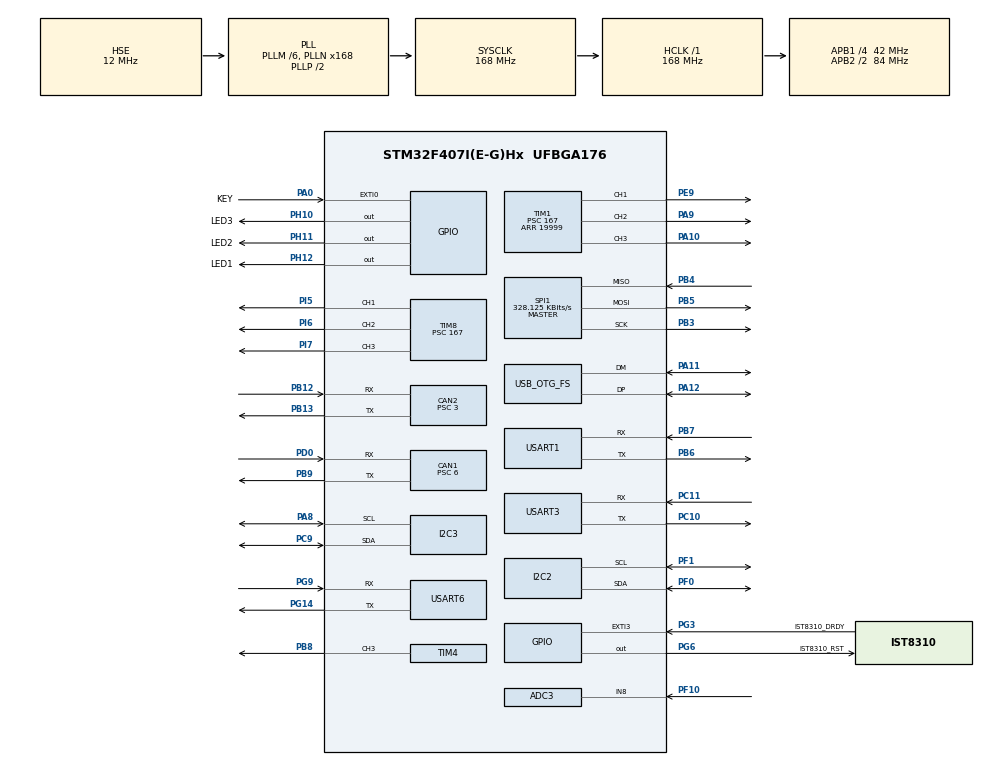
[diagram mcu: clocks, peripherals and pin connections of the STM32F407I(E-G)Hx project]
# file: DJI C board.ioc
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ADC1.Channel-0\#ChannelRegularConversion=ADC_CHANNEL_VREFINT
ADC1.NbrOfConversionFlag=1
ADC1.Rank-0\#ChannelRegularConversion=1
ADC1.SamplingTime-0\#ChannelRegularConversion=ADC_SAMPLETIME_3CYCLES
ADC1.master=1
ADC3.Channel-0\#ChannelRegularConversion=ADC_CHANNEL_8
ADC3.NbrOfConversionFlag=1
ADC3.Rank-0\#ChannelRegularConversion=1
ADC3.SamplingTime-0\#ChannelRegularConversion=ADC_SAMPLETIME_3CYCLES
CAN1.BS1=CAN_BS1_3TQ
CAN1.BS2=CAN_BS2_3TQ
CAN1.CalculateBaudRate=1000000
CAN1.CalculateTimeBit=1000
CAN1.CalculateTimeQuantum=142.85714285714286
CAN1.Prescaler=6
CAN2.BS1=CAN_BS1_10TQ
CAN2.BS2=CAN_BS2_3TQ
CAN2.CalculateBaudRate=1000000
CAN2.CalculateTimeBit=1000
CAN2.CalculateTimeQuantum=71.42857142857143
CAN2.Prescaler=3
Dma.Request0=USART1_TX
Dma.Request1=USART3_RX
Dma.USART1_TX.0.Direction=DMA_MEMORY_TO_PERIPH
Dma.USART1_TX.0.FIFOMode=DMA_FIFOMODE_DISABLE
Dma.USART1_TX.0.Instance=DMA2_Stream7
Dma.USART1_TX.0.MemDataAlignment=DMA_MDATAALIGN_BYTE
Dma.USART1_TX.0.MemInc=DMA_MINC_ENABLE
Dma.USART1_TX.0.Mode=DMA_NORMAL
Dma.USART1_TX.0.PeriphDataAlignment=DMA_PDATAALIGN_BYTE
Dma.USART1_TX.0.PeriphInc=DMA_PINC_DISABLE
Dma.USART1_TX.0.Priority=DMA_PRIORITY_VERY_HIGH
Dma.USART3_RX.1.Direction=DMA_PERIPH_TO_MEMORY
Dma.USART3_RX.1.FIFOMode=DMA_FIFOMODE_DISABLE
Dma.USART3_RX.1.Instance=DMA1_Stream1
Dma.USART3_RX.1.MemDataAlignment=DMA_MDATAALIGN_BYTE
Dma.USART3_RX.1.MemInc=DMA_MINC_ENABLE
Dma.USART3_RX.1.Mode=DMA_NORMAL
Dma.USART3_RX.1.PeriphDataAlignment=DMA_PDATAALIGN_BYTE
Dma.USART3_RX.1.PeriphInc=DMA_PINC_DISABLE
Dma.USART3_RX.1.Priority=DMA_PRIORITY_VERY_HIGH
FREERTOS.Tasks01=defaultTask,0,128,StartDefaultTask,Default,NULL,Dynamic,NULL,NULL;Chassis_Task,2,128,StartTask02,Default,NULL,Dynamic,NULL,NULL;Output_Task,-2,128,StartTask03,Default,NULL,Dynamic,NULL,NULL;UART_RX_Task,1,256,StartTask04,Default,NULL,Dynamic,NULL,NULL;MAIN_Task,-1,256,StartTask05,Default,NULL,Dynamic,NULL,NULL;TOWER_Task,0,128,StartTask06,Default,NULL,Dynamic,NULL,NULL
I2C2.I2C_Mode=I2C_Fast
I2C3.I2C_Mode=I2C_Fast
Mcu.Family=STM32F4
Mcu.Name=STM32F407I(E-G)Hx
Mcu.Package=UFBGA176
NVIC.DMA1_Stream1_IRQn=true\:5\:0\:false\:false\:true\:true\:false\:true\:true
NVIC.DMA2_Stream7_IRQn=true\:5\:0\:false\:false\:true\:true\:false\:true\:true
NVIC.EXTI0_IRQn=true\:5\:0\:false\:false\:true\:true\:true\:true\:true
NVIC.PriorityGroup=NVIC_PRIORITYGROUP_4
NVIC.TIM1_UP_TIM10_IRQn=true\:5\:0\:false\:false\:true\:true\:true\:true\:true
NVIC.TIM2_IRQn=true\:15\:0\:false\:false\:true\:false\:false\:true\:true
NVIC.TIM8_UP_TIM13_IRQn=true\:5\:0\:false\:false\:true\:true\:true\:true\:true
NVIC.TimeBase=TIM2_IRQn
NVIC.TimeBaseIP=TIM2
NVIC.USART1_IRQn=true\:5\:0\:false\:false\:true\:true\:true\:true\:true
NVIC.USART6_IRQn=true\:5\:0\:false\:false\:true\:true\:true\:true\:true
PA0-WKUP.GPIO_Label=KEY
PA0-WKUP.GPIO_PuPd=GPIO_PULLUP
PA0-WKUP.Signal=GPXTI0
PA10.Signal=S_TIM1_CH3
PA11.Mode=Device_Only
PA11.Signal=USB_OTG_FS_DM
PA12.Mode=Device_Only
PA12.Signal=USB_OTG_FS_DP
PA13.Mode=Serial_Wire
PA13.Signal=SYS_JTMS-SWDIO
PA14.Mode=Serial_Wire
PA14.Signal=SYS_JTCK-SWCLK
PA9.Signal=S_TIM1_CH2
PE9.Signal=S_TIM1_CH1
PB12.Mode=CAN_Activate
PB12.Signal=CAN2_RX
PB13.Mode=CAN_Activate
PB13.Signal=CAN2_TX
PB3.Mode=Full_Duplex_Master
PB3.Signal=SPI1_SCK
PB4.Mode=Full_Duplex_Master
PB4.Signal=SPI1_MISO
PB5.Mode=Full_Duplex_Master
PB5.Signal=SPI1_MOSI
PB6.Mode=Asynchronous
PB6.Signal=USART1_TX
PB7.Mode=Asynchronous
PB7.Signal=USART1_RX
PB8.Signal=S_TIM4_CH3
PB9.Mode=CAN_Activate
PB9.Signal=CAN1_TX
PC10.Mode=Asynchronous
PC10.Signal=USART3_TX
PC11.Mode=Asynchronous
PC11.Signal=USART3_RX
PC9.Mode=I2C
PC9.Signal=I2C3_SDA
PD0.Mode=CAN_Activate
PD0.Signal=CAN1_RX
PF0.Mode=I2C
PF0.Signal=I2C2_SDA
PF1.Mode=I2C
PF1.Signal=I2C2_SCL
PF10.Mode=IN8
PF10.Signal=ADC3_IN8
PG14.Mode=Asynchronous
PG14.Signal=USART6_TX
PG3.GPIO_Label=IST8310_DRDY
PG3.GPIO_ModeDefaultEXTI=GPIO_MODE_IT_FALLING
PG3.GPIO_PuPd=GPIO_PULLUP
PG3.Signal=GPXTI3
PG6.GPIO_Label=IST8310_RST
PG6.GPIO_PuPd=GPIO_PULLUP
PG6.GPIO_Speed=GPIO_SPEED_FREQ_MEDIUM
PG6.PinState=GPIO_PIN_SET
PG6.Signal=GPIO_Output
PG9.Mode=Asynchronous
PG9.Signal=USART6_RX
PH0-OSC_IN.Mode=HSE-External-Oscillator
PH0-OSC_IN.Signal=RCC_OSC_IN
PH1-OSC_OUT.Mode=HSE-External-Oscillator
PH1-OSC_OUT.Signal=RCC_OSC_OUT
PH10.GPIO_Label=LED3
PH10.GPIO_PuPd=GPIO_NOPULL
PH10.PinState=GPIO_PIN_SET
PH10.Signal=GPIO_Output
PH11.GPIO_Label=LED2
PH11.PinState=GPIO_PIN_SET
PH11.Signal=GPIO_Output
PH12.GPIO_Label=LED1
PH12.PinState=GPIO_PIN_SET
PH12.Signal=GPIO_Output
PA8.Mode=I2C
PA8.Signal=I2C3_SCL
PI5.Signal=S_TIM8_CH1
PI6.Signal=S_TIM8_CH2
PI7.Signal=S_TIM8_CH3
ProjectManager.HeapSize=0x200
ProjectManager.StackSize=0x400
ProjectManager.TargetToolchain=MDK-ARM V5
RCC.48MHZClocksFreq_Value=48000000
RCC.AHBFreq_Value=168000000
RCC.APB1CLKDivider=RCC_HCLK_DIV4
RCC.APB1Freq_Value=42000000
RCC.APB1TimFreq_Value=84000000
RCC.APB2CLKDivider=RCC_HCLK_DIV2
RCC.APB2Freq_Value=84000000
RCC.APB2TimFreq_Value=168000000
RCC.CortexFreq_Value=168000000
RCC.HCLKFreq_Value=168000000
RCC.HSE_VALUE=12000000
RCC.HSI_VALUE=16000000
RCC.LSE_VALUE=32768
RCC.PLLM=6
RCC.PLLN=168
RCC.PLLQ=7
RCC.PLLSourceVirtual=RCC_PLLSOURCE_HSE
RCC.SYSCLKFreq_VALUE=168000000
RCC.SYSCLKSource=RCC_SYSCLKSOURCE_PLLCLK
RCC.VCOOutputFreq_Value=336000000
SH.S_TIM1_CH1.0=TIM1_CH1,PWM Generation1 CH1
SH.S_TIM1_CH2.0=TIM1_CH2,PWM Generation2 CH2
SH.S_TIM1_CH3.0=TIM1_CH3,PWM Generation3 CH3
SH.S_TIM4_CH3.0=TIM4_CH3,PWM Generation3 CH3
SH.S_TIM8_CH1.0=TIM8_CH1,PWM Generation1 CH1
SH.S_TIM8_CH2.0=TIM8_CH2,PWM Generation2 CH2
SH.S_TIM8_CH3.0=TIM8_CH3,PWM Generation3 CH3
SPI1.BaudRatePrescaler=SPI_BAUDRATEPRESCALER_256
SPI1.CLKPhase=SPI_PHASE_2EDGE
SPI1.CLKPolarity=SPI_POLARITY_HIGH
SPI1.CalculateBaudRate=328.125 KBits/s
SPI1.Direction=SPI_DIRECTION_2LINES
SPI1.Mode=SPI_MODE_MASTER
SPI1.VirtualType=VM_MASTER
TIM1.Channel-PWM\ Generation1\ CH1=TIM_CHANNEL_1
TIM1.Channel-PWM\ Generation2\ CH2=TIM_CHANNEL_2
TIM1.Channel-PWM\ Generation3\ CH3=TIM_CHANNEL_3
TIM1.Period=19999
TIM1.Prescaler=167
TIM1.Pulse-PWM\ Generation1\ CH1=1500
TIM1.Pulse-PWM\ Generation2\ CH2=2000
TIM1.Pulse-PWM\ Generation3\ CH3=2000
TIM4.Channel-PWM\ Generation3\ CH3=TIM_CHANNEL_3
TIM4.Period=20999
TIM4.Prescaler=0
TIM8.Channel-PWM\ Generation1\ CH1=TIM_CHANNEL_1
TIM8.Channel-PWM\ Generation2\ CH2=TIM_CHANNEL_2
TIM8.Channel-PWM\ Generation3\ CH3=TIM_CHANNEL_3
TIM8.Prescaler=167
TIM8.Pulse-PWM\ Generation1\ CH1=2000
TIM8.Pulse-PWM\ Generation2\ CH2=2000
USART1.VirtualMode=VM_ASYNC
USART3.VirtualMode=VM_ASYNC
USART6.VirtualMode=VM_ASYNC
VP_ADC1_TempSens_Input.Mode=IN-TempSens
VP_ADC1_Vref_Input.Mode=IN-Vrefint
VP_FREERTOS_VS_CMSIS_V1.Mode=CMSIS_V1
VP_SYS_VS_tim2.Mode=TIM2
VP_TIM1_VS_ClockSourceINT.Mode=Internal
VP_TIM4_VS_ClockSourceINT.Mode=Internal
VP_TIM8_VS_ClockSourceINT.Mode=Internal
board=custom
USB_OTG_FS.VirtualMode=Device_Only
USB_OTG_FS.Vbus_sensing=Disable
NVIC.OTG_FS_IRQn=true\:5\:0\:false\:false\:true\:true\:false\:true\:true

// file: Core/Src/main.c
/* USER CODE BEGIN Header */
/**
  ******************************************************************************
  * @file           : main.c
  * @brief          : Main program body
  ******************************************************************************
  * @attention
  *
  * Copyright (c) 2026 STMicroelectronics.
  * All rights reserved.
  *
  * This software is licensed under terms that can be found in the LICENSE file
  * in the root directory of this software component.
  * If no LICENSE file comes with this software, it is provided AS-IS.
  *
  ******************************************************************************
  */
/* USER CODE END Header */
#include "main.h"
#include "cmsis_os.h"
#include "adc.h"
#include "can.h"
#include "dma.h"
#include "i2c.h"
#include "spi.h"
#include "tim.h"
#include "usart.h"
#include "gpio.h"

/* USER CODE BEGIN Includes */
#include "chassis_can.h"
#include "chassis.h"
#include "X_V2.h"
#include "bsp_can.h"
#include "6020_pid.h"
#include "OLED.h"
#include "bsp_adc.h"
#include "ist8310driver.h"
#include "BMI088driver.h"
#include "SG90.h"
#include "usb_cpi.h"
/* USER CODE END Includes */

/* USER CODE BEGIN PD */
#define CHASSIS_LOOP_DT_S      0.002f
#define CHASSIS_FORWARD_SPEED  0.25f
/* USER CODE END PD */

void SystemClock_Config(void);
void MX_FREERTOS_Init(void);

/* USER CODE BEGIN 0 */
fp32  ist8310_mag[3];              /* IST8310 磁力计三轴数据 (μT), DefaultTask 中更新 */
volatile uint8_t ist8310_data_ready = 0;  /* DRDY 中断标志, ISR 置位 / 任务清0 */
uint8_t ist8310_init_status;        /* ist8310_init() 返回值, 0=正常 */
uint8_t bmi088_init_status;         /* BMI088_init() 返回值, 0=正常 */

/**
  * @brief  GPIO 外部中断回调 (IST8310 DRDY / KEY)
  * @param  GPIO_Pin: 触发中断的引脚号
  * @retval 无
  */
void HAL_GPIO_EXTI_Callback(uint16_t GPIO_Pin)
{
    /* KEY 按键：无操作，按键仅在 main() 启动门控中使用 */
    if (GPIO_Pin == IST8310_DRDY_Pin)
    {
        ist8310_data_ready = 1;  /* 仅置标志，I2C 读取在任务上下文中完成 */
    }
}
/* USER CODE END 0 */

int main(void)
{

  /* MCU Configuration--------------------------------------------------------*/

  /* Reset of all peripherals, Initializes the Flash interface and the Systick. */
  HAL_Init();

  /* Configure the system clock */
  SystemClock_Config();

  /* Initialize all configured peripherals */
  MX_GPIO_Init();
  MX_DMA_Init();
  MX_ADC1_Init();
  MX_ADC3_Init();
  MX_TIM1_Init();
  MX_TIM4_Init();
  MX_TIM8_Init();
  MX_USART1_UART_Init();
  MX_USART3_UART_Init();
  MX_USART6_UART_Init();
  MX_I2C2_Init();
  MX_I2C3_Init();
  MX_SPI1_Init();
  MX_CAN1_Init();
  MX_CAN2_Init();
  /* USER CODE BEGIN 2 */
  USB_CPI_Init(); /* 先枚举，仍保留原KEY门控；未启动任务前不会执行颜色动作。 */
  /* ═══════════════════════════════════════════════════════════════════
   * 按键启动门控（对齐 6.key_exit）
   * 上电后在此等待 PA0 按下 → PB14 拉高 → 延时 300ms → 启动全部流程
   * ═══════════════════════════════════════════════════════════════════ */
  {
    GPIO_InitTypeDef key_gpio = {0};

    /* PB14 初始化为推挽输出低电平 */
    key_gpio.Pin   = GPIO_PIN_14;
    key_gpio.Mode  = GPIO_MODE_OUTPUT_PP;
    key_gpio.Pull  = GPIO_NOPULL;
    key_gpio.Speed = GPIO_SPEED_FREQ_LOW;
    HAL_GPIO_Init(GPIOB, &key_gpio);
    HAL_GPIO_WritePin(GPIOB, GPIO_PIN_14, GPIO_PIN_RESET);

    /* LED3(PH10) 闪烁表示等待按键 */
    HAL_GPIO_WritePin(LED3_GPIO_Port, LED3_Pin, GPIO_PIN_SET);

    /* 等待按键按下（PA0 上拉，按下为低电平）*/
    while (HAL_GPIO_ReadPin(KEY_GPIO_Port, KEY_Pin) != GPIO_PIN_RESET);
    HAL_Delay(20);   /* 消抖 */
    while (HAL_GPIO_ReadPin(KEY_GPIO_Port, KEY_Pin) != GPIO_PIN_RESET);

    HAL_GPIO_WritePin(LED3_GPIO_Port, LED3_Pin, GPIO_PIN_RESET);

    /* 拉高 PB14，延时 300ms 后启动全部流程 */
    HAL_GPIO_WritePin(GPIOB, GPIO_PIN_14, GPIO_PIN_SET);
    HAL_Delay(300);
  }

  /* --- CAN filters: bank 0 (GM6020) + bank 1 (chassis/lift) --- */
  can_filter_init();                                        /* GM6020 yaw motor: filter bank 0 → FIFO0 */
  chassis_can_filter_init();                                /* Chassis/lift motors: filter bank 1 → FIFO1 */
  /* CAN Start / ActivateNotification 已移至 Chassis_Task 开头（FreeRTOS 启动后执行）*/
  gimbal_PID_init();                                        /* GM6020 云台 PID 初始化 */
  SG90_Init();                                              /* SG90 夹爪舵机初始化 (TIM1_CH1, PE9, 50Hz) */
  OLED_Init();                                              /* 2.42吋 OLED 初始化 (PF1/PF0 软件 I2C) */
  init_vrefint_reciprocal();                                /* ADC 内部基准电压校准 */
  ist8310_init_status = ist8310_init();                     /* IST8310 磁力计初始化 (I2C3, DRDY PG3), 保存返回值 */
  bmi088_init_status = BMI088_init();                       /* BMI088 陀螺仪+加速度计初始化 (SPI1, CS=PA4/PB0), 保存返回值 */
  /* USER CODE END 2 */

  /* Call init function for freertos objects (in cmsis_os2.c) */
  MX_FREERTOS_Init();

  /* Start scheduler */
  osKernelStart();

  /* We should never get here as control is now taken by the scheduler */

  /* Infinite loop */
  while (1)
  {

  }
}

void SystemClock_Config(void)
{
  RCC_OscInitTypeDef RCC_OscInitStruct = {0};
  RCC_ClkInitTypeDef RCC_ClkInitStruct = {0};

  /** Configure the main internal regulator output voltage
  */
  __HAL_RCC_PWR_CLK_ENABLE();
  __HAL_PWR_VOLTAGESCALING_CONFIG(PWR_REGULATOR_VOLTAGE_SCALE1);

  /** Initializes the RCC Oscillators according to the specified parameters
  * in the RCC_OscInitTypeDef structure.
  */
  RCC_OscInitStruct.OscillatorType = RCC_OSCILLATORTYPE_HSE;
  RCC_OscInitStruct.HSEState = RCC_HSE_ON;
  RCC_OscInitStruct.PLL.PLLState = RCC_PLL_ON;
  RCC_OscInitStruct.PLL.PLLSource = RCC_PLLSOURCE_HSE;
  RCC_OscInitStruct.PLL.PLLM = 6;
  RCC_OscInitStruct.PLL.PLLN = 168;
  RCC_OscInitStruct.PLL.PLLP = RCC_PLLP_DIV2;
  RCC_OscInitStruct.PLL.PLLQ = 7; /* 336MHz/7=48MHz USB，CPU仍为168MHz。 */
  if (HAL_RCC_OscConfig(&RCC_OscInitStruct) != HAL_OK)
  {
    Error_Handler();
  }

  /** Initializes the CPU, AHB and APB buses clocks
  */
  RCC_ClkInitStruct.ClockType = RCC_CLOCKTYPE_HCLK|RCC_CLOCKTYPE_SYSCLK
                              |RCC_CLOCKTYPE_PCLK1|RCC_CLOCKTYPE_PCLK2;
  RCC_ClkInitStruct.SYSCLKSource = RCC_SYSCLKSOURCE_PLLCLK;
  RCC_ClkInitStruct.AHBCLKDivider = RCC_SYSCLK_DIV1;
  RCC_ClkInitStruct.APB1CLKDivider = RCC_HCLK_DIV4;
  RCC_ClkInitStruct.APB2CLKDivider = RCC_HCLK_DIV2;

  if (HAL_RCC_ClockConfig(&RCC_ClkInitStruct, FLASH_LATENCY_5) != HAL_OK)
  {
    Error_Handler();
  }
}

void HAL_TIM_PeriodElapsedCallback(TIM_HandleTypeDef *htim)
{
  if (htim->Instance == TIM2)
  {
    HAL_IncTick();
  }
}

void Error_Handler(void)
{
  __disable_irq();
  while (1)
  {
  }
}

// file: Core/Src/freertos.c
/* USER CODE BEGIN Header */
/**
  ******************************************************************************
  * File Name          : freertos.c
  * Description        : Code for freertos applications
  ******************************************************************************
  * @attention
  *
  * Copyright (c) 2026 STMicroelectronics.
  * All rights reserved.
  *
  * This software is licensed under terms that can be found in the LICENSE file
  * in the root directory of this software component.
  * If no LICENSE file comes with this software, it is provided AS-IS.
  *
  ******************************************************************************
  */
/* USER CODE END Header */

#include "FreeRTOS.h"
#include "task.h"
#include "main.h"
#include "cmsis_os.h"

/* USER CODE BEGIN Includes */
#include <stdio.h>
#include "chassis.h"
#include "chassis_can.h"
#include "X_V2.h"
#include "can.h"
#include "bsp_can.h"
#include "6020_pid.h"
#include "OLED.h"
#include "bsp_adc.h"
#include "ist8310driver.h"
#include "BMI088driver.h"
#include "crsf.h"
#include "SG90.h"
#include "pi_link.h"
#include "usart.h"
/* USER CODE END Includes */

/* USER CODE BEGIN PD */
#define CHASSIS_LOOP_DT_S      0.002f
#define CHASSIS_FORWARD_SPEED  0.25f

/* ── 遥控(CRSF)通道映射: 按遥控器通道顺序调整 (0 起) ──
 * 实测通道值:
 *   CH0 左右平移    居中=0992
 *   CH1 前进/后退   居中=0992
 *   CH2 油门/转速   停=0174, 满=1811 (非回中)
 *   CH3 旋转        居中=0992
 *   CH4 夹爪舵机    三段拨杆(191/997/1792)
 *   CH5 电机6       三段拨杆(191/997/1792) */
#define REMOTE_CH_STRAFE    0    /* 左右平移方向 (vy) */
#define REMOTE_CH_FORWARD   1    /* 前进/后退方向 (vx) */
#define REMOTE_CH_THROTTLE  2    /* 油门: 全局速度 174=停 1811=满速 */
#define REMOTE_CH_ROTATE    3    /* 旋转 (wz) */
#define REMOTE_CH_ARM       4    /* 通道5: 夹爪舵机三段拨杆 (原解锁开关, 已废弃) */

#define REMOTE_SIGN_VX      1.0f  /* 前进方向反了改 -1.0f */
#define REMOTE_SIGN_VY      1.0f
#define REMOTE_SIGN_WZ      -1.0f /* 自转方向: 摇杆左→车体左转(逆时针) */

#define REMOTE_MAX_VX       1.2f  /* 与底盘上限 g_max_vx 一致 */
#define REMOTE_MAX_VY       1.2f
#define REMOTE_MAX_WZ       4.0f
#define REMOTE_DEADZONE     0.05f
#define REMOTE_LINK_TIMEOUT_MS  500   /* 掉线判据 */

/* 油门(非回中)零点和量程 */
#define REMOTE_THROTTLE_MIN     174
#define REMOTE_THROTTLE_RANGE   1637   /* = CRSF_CH_MAX(1811) - 174 */
#define REMOTE_THROTTLE_DEADZONE  40   /* 油门死区: <174+40 视为完全停止(防蠕动) */

/* ── 塔吊(塔吊)遥控: CH7 开关切换模式, 油门→升降(电机#5), CH3→旋转(6020) ── */
#define REMOTE_CH_MODE        6    /* CH7 开关: 拨动后切换塔吊模式 */
#define REMOTE_MODE_THRESHOLD 1500 /* >1500 视为塔吊模式 */

#define TOWER_LIFT_MOTOR_ADDR  5U        /* 升降电机(张大头 X_V2 #5)地址 */
#define TOWER_LIFT_MAX_RPM     750.0f    /* 升降最大转速(RPM): 原 500 提高到 1.5 倍 */
#define TOWER_LIFT_ACC_RPMPS   500U      /* 升降加减速(RPM/s) */
#define TOWER_LIFT_DIR_UP      0U        /* 前进(升)方向: 0=CW, 1=CCW。方向反了把 UP/DOWN 两值互换 */
#define TOWER_LIFT_DIR_DOWN    1U        /* 后退(降)方向 */
#define TOWER_ROTATE_MAX_RPM   120.0f    /* 6020 旋转最大转速 */
#define TOWER_ROTATE_SIGN      -1.0f     /* 旋转方向反了改 +1.0f */
#define TOWER_HOLD_ANGLE_KP    0.8f      /* 锁位外环: 位置误差→转速指令 (RPM/count) */
#define TOWER_HOLD_DAMP        0.5f      /* 锁位外环速度阻尼 (转速指令 RPM / 实测 RPM) */
#define TOWER_HOLD_MAX_SPEED   150.0f    /* 锁位最大纠偏转速 (RPM) */
#define TOWER_HOLD_ERR_MAX     2048.0f   /* 锁位位置误差钳位(±90°) */

/* ── 夹爪舵机(SG90, PE9/TIM1_CH1): CH5(通道5=idx4) 三段拨杆 → 三档角度 ──
 * 实测拨杆三值: 0191 / 0997 / 1792。阈值取相邻两档中点。 */
#define TOWER_GRIP_CH_INDEX    REMOTE_CH_ARM  /* 通道5 = idx4 (复用 REMOTE_CH_ARM) */
#define TOWER_GRIP_LOW_TH      600    /* <600  判为下段 191 */
#define TOWER_GRIP_HIGH_TH     1300   /* >1300 判为上段 1792 */
#define TOWER_GRIP_ANGLE_LOW   (-80)  /* 下段 191 → 夹爪闭合(抓取) */
#define TOWER_GRIP_ANGLE_MID   (-40)  /* 中位 997 → 夹爪半开 */
#define TOWER_GRIP_ANGLE_HIGH  (0)    /* 上段 1792 → 夹爪张开 */

/* ── 电机6(张大头 X_V2 电机 #6): 通道6=idx5 三段拨杆 → 三态控制 ──
 * 遥控器把三段拨杆映射到通道6, 实测值同通道5: 0191 / 0997 / 1792。
 *   0191 → 正方向缓速;  0997 → 停止并自锁;  1792 → 反方向缓速。
 * 该通道代码里原为空闲, 与夹爪舵机(通道5)互不影响。 */
#define REMOTE_CH_MOTOR6      5U   /* 通道6 = idx5 (空闲通道) */
#define MOTOR6_ADDR           6U   /* CAN 总线电机地址 */
#define MOTOR6_SLOW_RPM       20.0f  /* 缓速转速(RPM): 啮合阻力不均匀, 已降三次(200→60→30→20),
                                          速度越低扭矩余量越大, 齿条遇紧点越不易被拖慢 */
#define MOTOR6_ACC_RPMPS      100U   /* 加减速(RPM/s): 缓加速, 起步更平稳 */
#define MOTOR6_MAX_CURRENT_MA 6000U  /* 闭环模式最大电流(mA), 与底盘四轮一致(可调) */
#define MOTOR6_DIR_FWD        0U   /* 正方向: 0=CW, 1=CCW。方向反了把 FWD/REV 两值互换 */
#define MOTOR6_DIR_REV        1U   /* 反方向 */
#define MOTOR6_SW_LOW_TH      600U  /* <600  判为下段 191 → 正方向 */
#define MOTOR6_SW_HIGH_TH     1300U /* >1300 判为上段 1792 → 反方向 */

/* 通道原始值(中位 992)归一化到 [-1,1], 带死区 */
#define REMOTE_NORM(ch, out)                                         \
    do {                                                             \
        int32_t _d = (int32_t)(ch) - CRSF_CH_CENTER;                 \
        float   _v = (float)_d / 820.0f;                             \
        if (_v >  1.0f) { _v =  1.0f; }                              \
        if (_v < -1.0f) { _v = -1.0f; }                              \
        if (_v > -REMOTE_DEADZONE && _v < REMOTE_DEADZONE) { _v = 0.0f; } \
        (out) = _v;                                                  \
    } while (0)

/* 油门(非回中)归一化: 174+死区以下→0.0, 1811→1.0 */
#define REMOTE_THROTTLE_NORM(ch, out)                                 \
    do {                                                              \
        int32_t _t = (int32_t)(ch) - REMOTE_THROTTLE_MIN - REMOTE_THROTTLE_DEADZONE; \
        float   _v = (float)_t / (float)(REMOTE_THROTTLE_RANGE - REMOTE_THROTTLE_DEADZONE); \
        if (_v < 0.0f) { _v = 0.0f; }                                 \
        if (_v > 1.0f) { _v = 1.0f; }                                 \
        (out) = _v;                                                   \
    } while (0)
/* USER CODE END PD */

/* USER CODE BEGIN Variables */
static volatile uint8_t g_chassis_ready = 0U; /* 完成原底盘初始化后才允许蓝色前进。 */
volatile control_mode_t g_control_mode = CONTROL_MODE_AUTO;
volatile uint8_t g_auto_red_grab_done = 0U;
volatile uint8_t g_tower_mode_active = 0U; /* 塔吊模式激活: 1=底盘任务停发CAN, 交 TOWER_Task 独占总线 */
extern pid_struct_t gimbal_yaw_speed_pid;  /* 6020 速度环 PID (塔吊旋转用) */
volatile int16_t g_6020_voltage_cmd = 0;   /* 最近一拍下发给 6020 的电压指令(诊断: OLED 塔吊模式第3行) */
/* USER CODE END Variables */
osThreadId defaultTaskHandle;
osThreadId Chassis_TaskHandle;
osThreadId Output_TaskHandle;
osThreadId UART_RX_TaskHandle;
osThreadId MAIN_TaskHandle;
osThreadId TOWER_TaskHandle;

/* USER CODE BEGIN FunctionPrototypes */
/* GM6020 辅助函数 — 暂时禁用，恢复 TOWER_Task 时解开 */
#if 0
static void gimbal_hold_control(uint32_t ms);
static void gimbal_wait_reached(uint32_t timeout_ms);
#endif
/* USER CODE END FunctionPrototypes */

void StartDefaultTask(void const * argument);
void StartTask02(void const * argument);
void StartTask03(void const * argument);
void StartTask04(void const * argument);
void StartTask05(void const * argument);
void StartTask06(void const * argument);

void MX_FREERTOS_Init(void); /* (MISRA C 2004 rule 8.1) */

/* GetIdleTaskMemory prototype (linked to static allocation support) */
void vApplicationGetIdleTaskMemory( StaticTask_t **ppxIdleTaskTCBBuffer, StackType_t **ppxIdleTaskStackBuffer, uint32_t *pulIdleTaskStackSize );

/* USER CODE BEGIN GET_IDLE_TASK_MEMORY */
static StaticTask_t xIdleTaskTCBBuffer;
static StackType_t xIdleStack[configMINIMAL_STACK_SIZE];

void vApplicationGetIdleTaskMemory( StaticTask_t **ppxIdleTaskTCBBuffer, StackType_t **ppxIdleTaskStackBuffer, uint32_t *pulIdleTaskStackSize )
{
  *ppxIdleTaskTCBBuffer = &xIdleTaskTCBBuffer;
  *ppxIdleTaskStackBuffer = &xIdleStack[0];
  *pulIdleTaskStackSize = configMINIMAL_STACK_SIZE;
  /* place for user code */
}
/* USER CODE END GET_IDLE_TASK_MEMORY */

void MX_FREERTOS_Init(void) {

  /* Create the thread(s) */
  /* definition and creation of defaultTask */
  osThreadDef(defaultTask, StartDefaultTask, osPriorityNormal, 0, 256);
  defaultTaskHandle = osThreadCreate(osThread(defaultTask), NULL);

  /* definition and creation of Chassis_Task */
  osThreadDef(Chassis_Task, StartTask02, osPriorityHigh, 0, 512);
  Chassis_TaskHandle = osThreadCreate(osThread(Chassis_Task), NULL);

  /* definition and creation of Output_Task */
  osThreadDef(Output_Task, StartTask03, osPriorityLow, 0, 128);
  Output_TaskHandle = osThreadCreate(osThread(Output_Task), NULL);

  /* definition and creation of UART_RX_Task */
  osThreadDef(UART_RX_Task, StartTask04, osPriorityAboveNormal, 0, 256);
  UART_RX_TaskHandle = osThreadCreate(osThread(UART_RX_Task), NULL);

  /* definition and creation of MAIN_Task */
  osThreadDef(MAIN_Task, StartTask05, osPriorityNormal, 0, 256);
  MAIN_TaskHandle = osThreadCreate(osThread(MAIN_Task), NULL);

  /* definition and creation of TOWER_Task */
  osThreadDef(TOWER_Task, StartTask06, osPriorityNormal, 0, 256);
  TOWER_TaskHandle = osThreadCreate(osThread(TOWER_Task), NULL);

}

void StartDefaultTask(void const * argument)
{
  /* USER CODE BEGIN StartDefaultTask */
  /* --- OLED 底盘轮速诊断 ---
   * Line1: RC=链路(Y/N) B=累计字节 F=有效帧
   * Line2~3: 目标轮速 T0~T3(代码期望下发的底盘坐标系转速, 带符号)
   * Line4~5: 实测轮速 M0~M3(编码器回传)
   * Line6: 轮速离散度 = max|w| - min|w| (RPM)
   * 判断: 目标≠0 而实测=0 → 电机没转(接线/使能/地址); 目标=0 → 遥控没给指令
   * Line8: CAN 接收诊断 */

  float    wrpm[4];
  float    wcmd[4];
  char     line[22];
  uint8_t  i;

  OLED_Clear();

  for(;;)
  {
    chassis_get_wheel_rpm(wrpm);
    chassis_get_wheel_cmd_rpm(wcmd);

    /* Line 1: 诊断状态 */
    snprintf(line, sizeof(line), "RC:%c B:%lu F:%lu",
             crsf_is_linked(REMOTE_LINK_TIMEOUT_MS) ? 'Y' : 'N',
             (unsigned long)crsf_byte_count(),
             (unsigned long)crsf_frame_count());
    OLED_ShowString_6x8(1, 1, line);
    for (i = 0; line[i] != '\0'; i++);
    for (; i < 21U; i++) { OLED_ShowChar_6x8(1, (uint8_t)(1U + i), ' '); }

    /* Line 2~3: 目标轮速(前左 前右 后左 后右)。
     * 塔吊模式下底盘停转, 借用这两行显示 6020 诊断:
     *   C=0x208 回包计数(为0→6020不在总线上/没供电/线松),
     *   sp=实测转速, V=本拍电压指令, d=0x1FF TX超时丢弃计数(>0→命令没发出去)。 */
    if (g_tower_mode_active)
    {
      snprintf(line, sizeof(line), "G C:%04u sp:%+4d", (unsigned)can_cnt, (int)motor_yaw_info.rotor_speed);
      OLED_ShowString_6x8(2, 1, line);
      for (i = 0; line[i] != '\0'; i++);
      for (; i < 21U; i++) { OLED_ShowChar_6x8(2, (uint8_t)(1U + i), ' '); }

      snprintf(line, sizeof(line), "G V:%+5d d:%04u", (int)g_6020_voltage_cmd, (unsigned)g_6020_tx_drop_count);
      OLED_ShowString_6x8(3, 1, line);
      for (i = 0; line[i] != '\0'; i++);
      for (; i < 21U; i++) { OLED_ShowChar_6x8(3, (uint8_t)(1U + i), ' '); }
    }
    else
    {
      snprintf(line, sizeof(line), "T0:%+4d T1:%+4d", (int)wcmd[0], (int)wcmd[1]);
      OLED_ShowString_6x8(2, 1, line);
      for (i = 0; line[i] != '\0'; i++);
      for (; i < 21U; i++) { OLED_ShowChar_6x8(2, (uint8_t)(1U + i), ' '); }

      snprintf(line, sizeof(line), "T2:%+4d T3:%+4d", (int)wcmd[2], (int)wcmd[3]);
      OLED_ShowString_6x8(3, 1, line);
      for (i = 0; line[i] != '\0'; i++);
      for (; i < 21U; i++) { OLED_ShowChar_6x8(3, (uint8_t)(1U + i), ' '); }
    }

    /* Line 4~5: 实测轮速(编码器回传) */
    snprintf(line, sizeof(line), "M0:%+4d M1:%+4d", (int)wrpm[0], (int)wrpm[1]);
    OLED_ShowString_6x8(4, 1, line);
    for (i = 0; line[i] != '\0'; i++);
    for (; i < 21U; i++) { OLED_ShowChar_6x8(4, (uint8_t)(1U + i), ' '); }

    snprintf(line, sizeof(line), "M2:%+4d M3:%+4d", (int)wrpm[2], (int)wrpm[3]);
    OLED_ShowString_6x8(5, 1, line);
    for (i = 0; line[i] != '\0'; i++);
    for (; i < 21U; i++) { OLED_ShowChar_6x8(5, (uint8_t)(1U + i), ' '); }

    /* Line 6: 轮速离散度(max|w| - min|w|), 直观衡量四轮一致性 */
    {
      float maxv = wrpm[0] < 0.0f ? -wrpm[0] : wrpm[0];
      float minv = maxv;
      for (i = 1U; i < 4U; i++)
      {
        float a = wrpm[i] < 0.0f ? -wrpm[i] : wrpm[i];
        if (a > maxv) maxv = a;
        if (a < minv) minv = a;
      }
      snprintf(line, sizeof(line), "spd:%+4d", (int)(maxv - minv));
      OLED_ShowString_6x8(6, 1, line);
      for (i = 0; line[i] != '\0'; i++);
      for (; i < 21U; i++) { OLED_ShowChar_6x8(6, (uint8_t)(1U + i), ' '); }
    }

    /* Line 7: 电机回包地址(诊断后轮)。
     * can_id=0 → 该电机从未回包(没响应/地址错/没上电);
     * can_id=3/4 且实测=0 → 电机已响应但卡死/负载太重/扭矩不够。 */
    snprintf(line, sizeof(line), "ID:%u %u %u %u",
             (unsigned)g_chassis_motors[0].can_id,
             (unsigned)g_chassis_motors[1].can_id,
             (unsigned)g_chassis_motors[2].can_id,
             (unsigned)g_chassis_motors[3].can_id);
    OLED_ShowString_6x8(7, 1, line);
    for (i = 0; line[i] != '\0'; i++);
    for (; i < 21U; i++) { OLED_ShowChar_6x8(7, (uint8_t)(1U + i), ' '); }

    /* Line 8: 电机6诊断 — 回包计数 + 实测转速(带符号, CCW=正/CW=负) + 拨杆通道值。
     * 例 "6:123 +60 m6:1792" = 地址6收到123帧回包, 实测转速+60RPM, 拨杆在上段。 */
    snprintf(line, sizeof(line), "6:%u %+d m6:%04u",
             (unsigned)g_can_rx1_ext_addr_count[6],
             (int)g_motor6_speed_rpm,
             (unsigned)crsf_get_channel(REMOTE_CH_MOTOR6));
    OLED_ShowString_6x8(8, 1, line);
    for (i = 0; line[i] != '\0'; i++);
    for (; i < 21U; i++) { OLED_ShowChar_6x8(8, (uint8_t)(1U + i), ' '); }

    osDelay(50);
  }
  /* USER CODE END StartDefaultTask */
}

void StartTask02(void const * argument)
{
  /* USER CODE BEGIN StartTask02 */
  /* --- 底盘控制任务: CAN + 陀螺仪读取 + 底盘速度环, 速度目标由遥控任务下发 --- */

  /* CAN 总线启动（在调度器上下文中执行，避免中断在 FreeRTOS 启动前触发）*/
  HAL_CAN_Start(&hcan1);
  HAL_CAN_ActivateNotification(&hcan1, CAN_IT_RX_FIFO0_MSG_PENDING);
  HAL_CAN_ActivateNotification(&hcan1, CAN_IT_RX_FIFO1_MSG_PENDING);

  uint32_t heartbeat_cnt = 0U;
  uint32_t diag_cnt = 0U;
  extern uint32_t g_chassis_can_tx_drop_count;

  /* PH10=LED3 亮一下表示 Chassis_Task 已启动 */
  HAL_GPIO_WritePin(LED3_GPIO_Port, LED3_Pin, GPIO_PIN_SET);
  osDelay(50);
  HAL_GPIO_WritePin(LED3_GPIO_Port, LED3_Pin, GPIO_PIN_RESET);

  chassis_init();

  /* 陀螺仪零偏标定(车辆静止时) + 使能陀螺仪偏航闭环 */
  chassis_gyro_calibrate();
  chassis_set_gyro_yaw_enable(true);

  /* 陀螺仪修正增益(实地可调):
   *   航向保持   —— 平移时锁定航向, 修正"左右平移走斜"；
   *   自转中心保持 —— 原地旋转时锁定空间位置, 修正"打着转飘移"。 */
  chassis_set_heading_hold_gain(3.0f);
  chassis_set_rotation_hold_gain(1.5f);

  /* PH10=LED3 再亮一下表示初始化完成 */
  HAL_GPIO_WritePin(LED3_GPIO_Port, LED3_Pin, GPIO_PIN_SET);
  osDelay(50);
  HAL_GPIO_WritePin(LED3_GPIO_Port, LED3_Pin, GPIO_PIN_RESET);

  /* 用 DWT 周期计数器实测控制周期(实际≈2.3ms, 而非假设的2ms),
     否则陀螺航向积分会系统性偏低, 航向保持/自转中心保持都会失准 */
  uint32_t last_cyc = DWT->CYCCNT;
  g_chassis_ready = 1U;

  for (;;)
  {
    uint32_t now_cyc = DWT->CYCCNT;
    float loop_dt_s = (float)(now_cyc - last_cyc) / (float)SystemCoreClock;
    last_cyc = now_cyc;
    if (loop_dt_s < 0.001f || loop_dt_s > 0.01f)
    {
      loop_dt_s = CHASSIS_LOOP_DT_S;   /* 首拍/异常时兜底, 防止 0 或超长 dt */
    }

    /* ── CAN Bus-Off 检测与恢复 ───────────────── */
    uint32_t can_esr = hcan1.Instance->ESR;
    if (can_esr & CAN_ESR_BOFF)
    {
      HAL_GPIO_WritePin(LED2_GPIO_Port, LED2_Pin, GPIO_PIN_SET);
      HAL_CAN_Stop(&hcan1);
      osDelay(10);
      __HAL_CAN_CLEAR_FLAG(&hcan1, CAN_FLAG_BOF);
      HAL_CAN_Start(&hcan1);
      HAL_CAN_ActivateNotification(&hcan1, CAN_IT_RX_FIFO0_MSG_PENDING);
      HAL_CAN_ActivateNotification(&hcan1, CAN_IT_RX_FIFO1_MSG_PENDING);
      g_chassis_can_tx_drop_count = 0U;
      HAL_GPIO_WritePin(LED2_GPIO_Port, LED2_Pin, GPIO_PIN_RESET);
      osDelay(20);
      continue;
    }
    else if (can_esr & CAN_ESR_EPVF)
    {
      static uint8_t ep_toggle = 0U;
      ep_toggle ^= 1U;
      if (ep_toggle)
        HAL_GPIO_WritePin(LED2_GPIO_Port, LED2_Pin, GPIO_PIN_SET);
      else
        HAL_GPIO_WritePin(LED2_GPIO_Port, LED2_Pin, GPIO_PIN_RESET);
    }
    else if (can_esr & CAN_ESR_EWGF)
    {
      static uint8_t ew_cnt = 0U;
      ew_cnt++;
      if (ew_cnt >= 100U) { HAL_GPIO_TogglePin(LED2_GPIO_Port, LED2_Pin); ew_cnt = 0U; }
    }
    /* ── CAN 状态检测结束 ─────────────────────── */

    /* 单读源: 每循环读陀螺仪(供偏航闭环控制用) */
    BMI088_gyro_read(g_imu_gyro);

    chassis_update(loop_dt_s);

    /* ── 诊断 LED ─────────────────────────────── */
    heartbeat_cnt++;
    if (heartbeat_cnt >= 250U)
    {
      HAL_GPIO_TogglePin(LED3_GPIO_Port, LED3_Pin);
      heartbeat_cnt = 0U;
    }

    diag_cnt++;
    if (diag_cnt >= 500U)
    {
      uint8_t fb_ok = 0U;
      for (uint8_t m = 0U; m < 4U; m++)
      {
        if (g_chassis_motors[m].can_id != 0U) { fb_ok = 1U; break; }
      }
      if (fb_ok)
        HAL_GPIO_WritePin(LED1_GPIO_Port, LED1_Pin, GPIO_PIN_SET);
      diag_cnt = 0U;
    }
    /* ── 诊断 LED 结束 ─────────────────────────── */

    osDelay(2);
  }
  /* USER CODE END StartTask02 */
}

void StartTask03(void const * argument)
{
  /* USER CODE BEGIN StartTask03 */
  /* Infinite loop */
  for(;;)
  {
    osDelay(1000);
  }
  /* USER CODE END StartTask03 */
}

void StartTask04(void const * argument)
{
  /* USER CODE BEGIN StartTask04 */
  /* --- 遥控接收(CRSF)任务: 解析 ELRS 接收机数据 → 底盘速度指令 ---
   * 数据流: 遥控器 → ELRS 接收机(CRSF) → USART1(PA9=TX, PB7=RX) → crsf.c 解析
   * 本任务周期读取通道值并映射为 chassis_set_target(vx, vy, wz)。
   * 掉线切换自动时归零一次，此后不抢占未来自动程序的底盘目标。 */
  uint16_t ch_thr, ch_fwd, ch_str, ch_rot, ch_mode;
  float thr, nvx, nvy, nwz;
  pi_target_t auto_target;
  uint8_t blue_armed = 1U, blue_running = 0U;
  uint32_t blue_start_tick = 0U;
  static uint8_t motor6_initialized = 0U;  /* 电机6首次使能标志(仅塔吊模式可控, 与底盘驱动分开) */
  for(;;)
  {
    if (!crsf_is_linked(REMOTE_LINK_TIMEOUT_MS))
    {
      /* 手动→自动仅停车一次，自动分支不持续覆盖底盘目标。 */
      if (g_control_mode == CONTROL_MODE_MANUAL)
      {
        chassis_set_target(0.0f, 0.0f, 0.0f);
      }
      /* 电机6仍保留原有掉线停机重发，只有底盘目标改为切换时归零。 */
      if (motor6_initialized) { X_V2_Stop_Now(MOTOR6_ADDR, false); }
      g_control_mode = CONTROL_MODE_AUTO;
      pi_link_get_target(&auto_target);
      if (!auto_target.valid || auto_target.color != 3U)
      {
        if (blue_running) chassis_set_target(0.0f, 0.0f, 0.0f);
        blue_running = 0U;
        blue_armed = 1U;
      }
      else if (g_chassis_ready)
      {
        if (blue_armed)
        {
          blue_start_tick = HAL_GetTick();
          blue_running = 1U;
          blue_armed = 0U;
        }
        if (blue_running)
        {
          if ((uint32_t)(HAL_GetTick() - blue_start_tick) >= 1000U)
          {
            chassis_set_target(0.0f, 0.0f, 0.0f);
            blue_running = 0U;
          }
          else
          {
            /* 非阻塞计时；目标失效/变色提前停，同色持续发送不会续时。 */
            chassis_set_target(CHASSIS_FORWARD_SPEED, 0.0f, 0.0f);
          }
        }
      }
      osDelay(10);
      continue;
    }

    blue_running = 0U;
    blue_armed = 1U; /* 取消自动计时，后续底盘目标完全由原手动分支接管。 */
    g_control_mode = CONTROL_MODE_MANUAL; /* 有效遥控始终优先，CH7仍只切塔吊。 */

    /* 塔吊模式(CH7 开关拨动): 底盘完全停止, 交回 TOWER_Task 控制塔吊 */
    ch_mode = crsf_get_channel(REMOTE_CH_MODE);
    if (ch_mode > REMOTE_MODE_THRESHOLD)
    {
      /* 塔吊模式: 底盘停 + 电机6(齿轮齿条)三态速度控制(仅塔吊模式可控, 与底盘驱动分开)。
       *   0191(<600) → 正方向缓速;  0997(中位) → 停止并自锁;  1792(>1300) → 反方向缓速。 */
      chassis_set_target(0.0f, 0.0f, 0.0f);
      {
        uint16_t ch_m6 = crsf_get_channel(REMOTE_CH_MOTOR6);

        if (!motor6_initialized)
        {
          /* 一次性初始化: 使能 + 闭环FOC + 电流上限(6000mA), 周期重发会打断运行致"旋转不连贯" */
          X_V2_En_Control(MOTOR6_ADDR, true, false);
          X_V2_Modify_Ctrl_Mode(MOTOR6_ADDR, false, true);
          X_V2_Modify_FOC_mA(MOTOR6_ADDR, false, MOTOR6_MAX_CURRENT_MA);
          motor6_initialized = 1U;
        }

        if (ch_m6 < MOTOR6_SW_LOW_TH)
        {
          X_V2_Vel_Control(MOTOR6_ADDR, MOTOR6_DIR_FWD, MOTOR6_ACC_RPMPS, MOTOR6_SLOW_RPM, false);
        }
        else if (ch_m6 > MOTOR6_SW_HIGH_TH)
        {
          X_V2_Vel_Control(MOTOR6_ADDR, MOTOR6_DIR_REV, MOTOR6_ACC_RPMPS, MOTOR6_SLOW_RPM, false);
        }
        else
        {
          X_V2_Stop_Now(MOTOR6_ADDR, false);   /* 中位 997: 停止并自锁 */
        }

        /* 读电机6实时转速: X_V2 电机不主动上报, 必须被读才回 0x35 速度帧(OLED 第8行诊断)。 */
        X_V2_Read_Sys_Params(MOTOR6_ADDR, S_VEL);
      }
      osDelay(10);
      continue;
    }

    /* 非塔吊模式: 电机6 停止(防失控), 底盘正常驱动 */
    if (motor6_initialized) { X_V2_Stop_Now(MOTOR6_ADDR, false); }

    ch_thr = crsf_get_channel(REMOTE_CH_THROTTLE);
    ch_fwd = crsf_get_channel(REMOTE_CH_FORWARD);
    ch_str = crsf_get_channel(REMOTE_CH_STRAFE);
    ch_rot = crsf_get_channel(REMOTE_CH_ROTATE);

    REMOTE_THROTTLE_NORM(ch_thr, thr);
    REMOTE_NORM(ch_fwd, nvx);
    REMOTE_NORM(ch_str, nvy);
    REMOTE_NORM(ch_rot, nwz);

    /* 油门(全局速度) × 方向; 旋转也随油门, 油门归零全部停止 */
    chassis_set_target(thr * nvx * REMOTE_SIGN_VX * REMOTE_MAX_VX,
                       thr * nvy * REMOTE_SIGN_VY * REMOTE_MAX_VY,
                       thr * nwz * REMOTE_SIGN_WZ * REMOTE_MAX_WZ);

    osDelay(10);
  }
  /* USER CODE END StartTask04 */
}

void StartTask05(void const * argument)
{
  /* USER CODE BEGIN StartTask05 */
  /* 复用空闲任务：DMA字节缓冲在这里解析，ACK/STATUS只在任务中发送。 */
  for (;;)
  {
    /* USB CDC中断已缓冲字节；不启动USART3接收，避免两个输入源混帧。 */
    pi_link_process();
    osDelay(10);
  }
  /* USER CODE END StartTask05 */
}

void StartTask06(void const * argument)
{
  /* USER CODE BEGIN StartTask06 */
  /* ── 塔吊遥控任务 ──
   * CH7 开关拨动 → 进入塔吊模式(此时底盘由 StartTask04 完全停止)。
   *   升降: 前进/后退摇杆(CH2 回中 992) → 电机 #5 速度控制(前进=升, 后退=降, 回中=停)。
   *         直接 X_V2_Vel_Control 速度控制, 不依赖位置反馈 → 无积分/无位置环跑飞。
   *   旋转: CH4(原底盘自转摇杆, 回中) → 6020 转速(速度环); 回中=角度环锁死当前位置。
   * 掉线/退出塔吊模式 → 停升降 + 6020 电压归零。 */
  uint16_t ch_mode, ch_fwd, ch_rot;
  float nfwd, nrot;
  float lift_vel_rpm;
  float rot_ref_rpm;
  float ang_err;
  float voltage;
  uint8_t lift_initialized = 0U;
  uint8_t tower_active = 0U;
  float   yaw_unwrapped = 0.0f;   /* 连续(解缠绕)角度, 可超 8191 */
  float   hold_unwrapped = 0.0f;  /* 锁位目标(解缠绕角度) */
  int32_t yaw_prev = 0;           /* 上一拍转子角度, 计算增量用 */
  uint8_t rot_mode_active = 0U;   /* 上一拍是否处于摇杆速度模式(用于切换时复位速度环) */
  pi_target_t target;
  uint8_t auto_grip_color = 0U;
  int16_t grip_last_angle = 0;    /* 夹爪舵机上次写入角度(拨杆换档才更新, 减少写比较寄存器) */

  for (;;)
  {
    if (g_control_mode == CONTROL_MODE_AUTO || !crsf_is_linked(REMOTE_LINK_TIMEOUT_MS))
    {
      /* 自动夹爪由本任务统一控制；蓝色底盘动作在UART_RX_Task，升降/6020停止。 */
      if (lift_initialized) { X_V2_Stop_Now(TOWER_LIFT_MOTOR_ADDR, false); }
      set_GM6020_motor_voltage(&hcan1, 0);
      g_6020_voltage_cmd = 0;
      g_tower_mode_active = 0U;
      tower_active = 0U;
      taskENTER_CRITICAL();
      pi_link_get_target(&target);
      if (!target.valid || (target.color != 1U && target.color != 4U))
      {
        auto_grip_color = 0U;
        g_auto_red_grab_done = 0U;
      }
      /* 红色闭合、绿色张开；同色目标只触发一次，手动链路恢复即停止自动操作。 */
      if (g_control_mode == CONTROL_MODE_AUTO && !crsf_is_linked(REMOTE_LINK_TIMEOUT_MS) &&
          target.valid && (target.color == 1U || target.color == 4U))
      {
        if (auto_grip_color != target.color)
        {
          grip_last_angle = (target.color == 1U) ? TOWER_GRIP_ANGLE_LOW : TOWER_GRIP_ANGLE_HIGH;
          SG90_SetAngle(grip_last_angle);
          auto_grip_color = target.color;
        }
        g_auto_red_grab_done = (target.color == 1U) ? 1U : 0U;
      }
      taskEXIT_CRITICAL();
      osDelay(10);
      continue;
    }
    g_auto_red_grab_done = 0U;
    auto_grip_color = 0U;

    ch_mode = crsf_get_channel(REMOTE_CH_MODE);

    if (ch_mode <= REMOTE_MODE_THRESHOLD)
    {
      /* 非塔吊模式: 停执行器(升降/6020) */
      if (lift_initialized)  { X_V2_Stop_Now(TOWER_LIFT_MOTOR_ADDR, false); }
      set_GM6020_motor_voltage(&hcan1, 0);
      g_tower_mode_active = 0U;
      tower_active = 0U;
      osDelay(10);
      continue;
    }

    /* ── 塔吊模式 ── */
    if (!lift_initialized)
    {
      /* 首次进入: 使能升降电机 #5 */
      X_V2_En_Control(TOWER_LIFT_MOTOR_ADDR, true, false);
      lift_initialized = 1U;
    }

    if (!tower_active)
    {
      /* 刚进入塔吊模式: 用当前 6020 角度作为回中锁位目标(解缠绕角度) */
      yaw_unwrapped = (float)motor_yaw_info.rotor_angle;
      yaw_prev      = (int32_t)motor_yaw_info.rotor_angle;
      hold_unwrapped = yaw_unwrapped;
      pid_reset(&gimbal_yaw_speed_pid);
      rot_mode_active = 0U;
      g_tower_mode_active = 1U;
      tower_active = 1U;
    }

    ch_fwd = crsf_get_channel(REMOTE_CH_FORWARD);
    ch_rot = crsf_get_channel(REMOTE_CH_ROTATE);

    /* 升降: 前进/后退摇杆 → 电机 #5 速度 (前进=升, 后退=降, 回中=停) */
    REMOTE_NORM(ch_fwd, nfwd);
    lift_vel_rpm = nfwd * TOWER_LIFT_MAX_RPM;

    if (lift_vel_rpm > 1.0f)
    {
      X_V2_Vel_Control(TOWER_LIFT_MOTOR_ADDR, TOWER_LIFT_DIR_UP, TOWER_LIFT_ACC_RPMPS, lift_vel_rpm, false);
    }
    else if (lift_vel_rpm < -1.0f)
    {
      X_V2_Vel_Control(TOWER_LIFT_MOTOR_ADDR, TOWER_LIFT_DIR_DOWN, TOWER_LIFT_ACC_RPMPS, -lift_vel_rpm, false);
    }
    else
    {
      /* 回中: 急停立即刹住。速度控制的 acc 同时是减速斜率, 回中发 vel=0 会按 acc 继续滑行减速 */
      X_V2_Stop_Now(TOWER_LIFT_MOTOR_ADDR, false);
    }

    /* 旋转: CH4 → 6020。偏离回中=速度环跟随; 回中=角度环锁定当前位置 */
    REMOTE_NORM(ch_rot, nrot);

    /* 解缠绕: 累计角度增量, 正确处理 0/8191 跨越。
     * 锁位误差用连续角度 → 推过 180° 也沿"原路返回", 不会突然反向(刚度突降)。 */
    {
      int32_t cur   = (int32_t)motor_yaw_info.rotor_angle;
      int32_t delta = cur - yaw_prev;
      if (delta > 4096)       { delta -= 8192; }
      else if (delta < -4096) { delta += 8192; }
      yaw_unwrapped += (float)delta;
      yaw_prev = cur;
    }

    /* 模式切换(锁位↔摇杆)时复位速度环, 避免旧误差/微分记忆在切换瞬间打冲击 → 短暂失控震荡 */
    {
      uint8_t rot_active = (nrot > 0.01f || nrot < -0.01f) ? 1U : 0U;
      if (rot_active != rot_mode_active)
      {
        pid_reset(&gimbal_yaw_speed_pid);
        rot_mode_active = rot_active;
      }
    }

    if (nrot > 0.01f || nrot < -0.01f)
    {
      /* 摇杆偏离: 速度模式, 并同步把锁位目标更新到当前角度(松杆就锁在这里) */
      rot_ref_rpm = nrot * TOWER_ROTATE_SIGN * TOWER_ROTATE_MAX_RPM;
      voltage = pid_calc(&gimbal_yaw_speed_pid, rot_ref_rpm, (float)motor_yaw_info.rotor_speed);
      hold_unwrapped = yaw_unwrapped;
    }
    else
    {
      /* 回中: 级联锁位。外环 位置误差→转速指令, 内环复用速度环(自带阻尼, 不易震荡)。
       * 位置误差用解缠绕角度(无 180° 翻转)。 */
      ang_err = hold_unwrapped - yaw_unwrapped;

      if (ang_err > TOWER_HOLD_ERR_MAX)       { ang_err = TOWER_HOLD_ERR_MAX; }
      else if (ang_err < -TOWER_HOLD_ERR_MAX) { ang_err = -TOWER_HOLD_ERR_MAX; }

      /* 外环速度阻尼: 用实测转速直接压低转速指令, 额外吸振(拨动激振/来回摆) */
      rot_ref_rpm = TOWER_HOLD_ANGLE_KP * ang_err - TOWER_HOLD_DAMP * (float)motor_yaw_info.rotor_speed;
      if (rot_ref_rpm > TOWER_HOLD_MAX_SPEED)       { rot_ref_rpm = TOWER_HOLD_MAX_SPEED; }
      else if (rot_ref_rpm < -TOWER_HOLD_MAX_SPEED) { rot_ref_rpm = -TOWER_HOLD_MAX_SPEED; }

      voltage = pid_calc(&gimbal_yaw_speed_pid, rot_ref_rpm, (float)motor_yaw_info.rotor_speed);
    }

    g_6020_voltage_cmd = (int16_t)voltage;   /* 诊断: 记录本拍 6020 电压指令 */
    set_GM6020_motor_voltage(&hcan1, (int16_t)voltage);

    /* 夹爪舵机: CH5(通道5) 三段拨杆 → 三档角度。只在换档时写比较寄存器, 避免每拍抖动。 */
    {
      uint16_t ch_grip = crsf_get_channel(TOWER_GRIP_CH_INDEX);
      int16_t  grip_angle;

      if (ch_grip < TOWER_GRIP_LOW_TH)       { grip_angle = TOWER_GRIP_ANGLE_LOW; }
      else if (ch_grip > TOWER_GRIP_HIGH_TH) { grip_angle = TOWER_GRIP_ANGLE_HIGH; }
      else                                   { grip_angle = TOWER_GRIP_ANGLE_MID; }

      if (grip_angle != grip_last_angle)
      {
        SG90_SetAngle(grip_angle);
        grip_last_angle = grip_angle;
      }
    }

    osDelay(10);
  }
  /* USER CODE END StartTask06 */
}

/* USER CODE BEGIN Application */

/* ── GM6020 云台辅助函数（对齐 F407VET6） ─────────────────── */

/* GM6020 辅助函数 — 暂时禁用，恢复 TOWER_Task 时解开（下方 #if 0 到 #endif 全部解开） */
#if 0

/* 保持当前位置一段时间的 PID 控制（阻塞式） */
static void gimbal_hold_control(uint32_t ms)
{
  uint32_t start = HAL_GetTick();
  while ((HAL_GetTick() - start) < ms)
  {
    int16_t yaw_voltage = gimbal_update(motor_yaw_info.rotor_angle,
                                        motor_yaw_info.rotor_speed);
    set_GM6020_motor_voltage(&hcan1, yaw_voltage);
    osDelay(2);  /* 500Hz */
  }
}

/* 等待到达目标位置，带超时保护（阻塞式） */
static void gimbal_wait_reached(uint32_t timeout_ms)
{
  uint32_t start = HAL_GetTick();
  while ((HAL_GetTick() - start) < timeout_ms)
  {
    int16_t yaw_voltage = gimbal_update(motor_yaw_info.rotor_angle,
                                        motor_yaw_info.rotor_speed);
    set_GM6020_motor_voltage(&hcan1, yaw_voltage);

    if (gimbal_is_target_reached(motor_yaw_info.rotor_angle,
                                 motor_yaw_info.rotor_speed))
    {
      gimbal_hold_control(200U);  /* 到达稳住 200ms 防过冲 */
      return;
    }
    osDelay(2);  /* 500Hz */
  }
}

#endif /* #if 0 — GM6020 辅助函数 */

/* USER CODE END Application */
